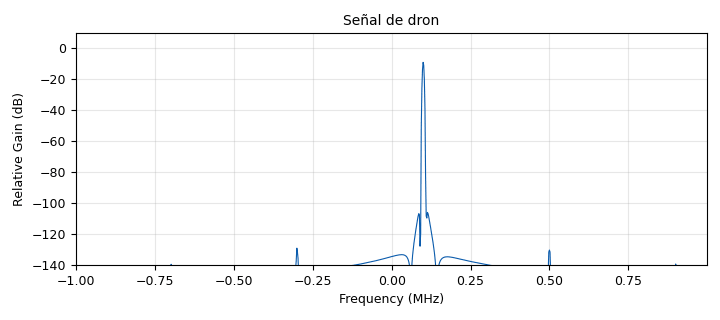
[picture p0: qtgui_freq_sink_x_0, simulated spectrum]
options:
  parameters:
    generate_options: qt_gui
    id: practica1
    output_language: python
    title: Not titled yet
  states: {}

blocks:
- name: samp_rate
  id: variable
  parameters:
    value: '2000000'
  states: {}
- name: analog_sig_source_x_0
  id: analog_sig_source_x
  parameters:
    amp: '1'
    freq: '100000'
    offset: '0'
    phase: '0'
    samp_rate: samp_rate
    type: complex
    waveform: analog.GR_COS_WAVE
  states: {}
- name: blocks_throttle_0
  id: blocks_throttle
  parameters:
    samples_per_second: samp_rate
    type: complex
  states: {}
- name: qtgui_freq_sink_x_0
  id: qtgui_freq_sink_x
  parameters:
    bw: samp_rate
    fc: '0'
    fftsize: '1024'
    name: '"Señal de dron"'
    type: complex
  states: {}

connections:
- [analog_sig_source_x_0, '0', blocks_throttle_0, '0']
- [blocks_throttle_0, '0', qtgui_freq_sink_x_0, '0']

metadata:
  file_format: 1
